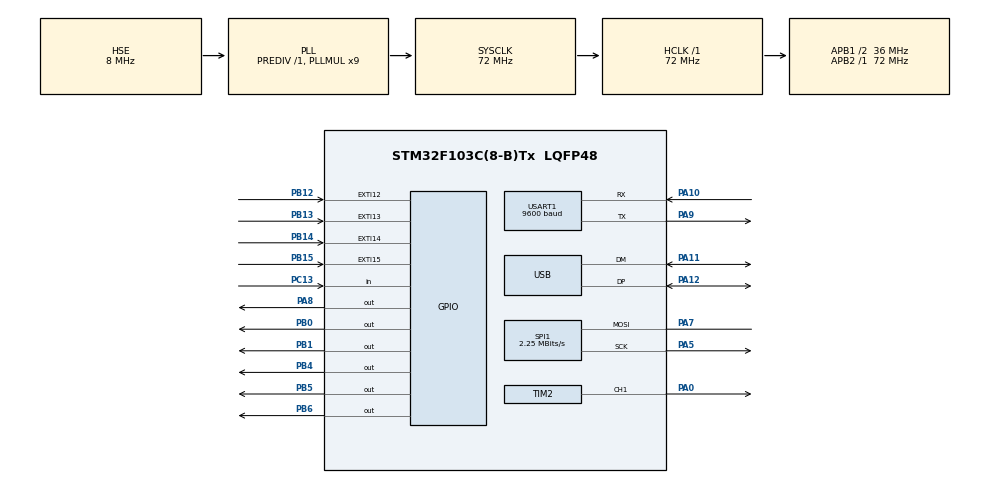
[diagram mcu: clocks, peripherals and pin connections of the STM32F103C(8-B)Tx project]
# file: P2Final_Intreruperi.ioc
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Mcu.Family=STM32F1
Mcu.Name=STM32F103C(8-B)Tx
Mcu.Package=LQFP48
NVIC.EXTI15_10_IRQn=true\:0\:0\:false\:false\:true\:true\:true\:true
NVIC.PriorityGroup=NVIC_PRIORITYGROUP_4
NVIC.TIM2_IRQn=true\:0\:0\:false\:false\:true\:true\:true\:true
NVIC.USART1_IRQn=true\:0\:0\:false\:false\:true\:true\:true\:true
PA0-WKUP.Signal=S_TIM2_CH1_ETR
PA10.Mode=Asynchronous
PA10.Signal=USART1_RX
PA11.Mode=Device
PA11.Signal=USB_DM
PA12.Mode=Device
PA12.Signal=USB_DP
PA5.Mode=Simplex_Bidirectional_Master
PA5.Signal=SPI1_SCK
PA7.Mode=Simplex_Bidirectional_Master
PA7.Signal=SPI1_MOSI
PA8.Signal=GPIO_Output
PA9.Mode=Asynchronous
PA9.Signal=USART1_TX
PB0.Signal=GPIO_Output
PB1.Signal=GPIO_Output
PB12.GPIO_PuPd=GPIO_PULLDOWN
PB12.Signal=GPXTI12
PB13.GPIO_PuPd=GPIO_PULLDOWN
PB13.Signal=GPXTI13
PB14.GPIO_PuPd=GPIO_PULLDOWN
PB14.Signal=GPXTI14
PB15.GPIO_PuPd=GPIO_PULLDOWN
PB15.Signal=GPXTI15
PB4.Signal=GPIO_Output
PB5.Signal=GPIO_Output
PB6.Signal=GPIO_Output
PC13-TAMPER-RTC.GPIO_PuPd=GPIO_PULLUP
PC13-TAMPER-RTC.Signal=GPIO_Input
PD0-OSC_IN.Mode=HSE-External-Oscillator
PD0-OSC_IN.Signal=RCC_OSC_IN
PD1-OSC_OUT.Mode=HSE-External-Oscillator
PD1-OSC_OUT.Signal=RCC_OSC_OUT
ProjectManager.HeapSize=0x200
ProjectManager.StackSize=0x400
ProjectManager.TargetToolchain=STM32CubeIDE
RCC.AHBFreq_Value=72000000
RCC.APB1CLKDivider=RCC_HCLK_DIV2
RCC.APB1Freq_Value=36000000
RCC.APB1TimFreq_Value=72000000
RCC.APB2Freq_Value=72000000
RCC.APB2TimFreq_Value=72000000
RCC.HCLKFreq_Value=72000000
RCC.PLLMUL=RCC_PLL_MUL9
RCC.SYSCLKFreq_VALUE=72000000
RCC.SYSCLKSource=RCC_SYSCLKSOURCE_PLLCLK
RCC.USBFreq_Value=48000000
RCC.USBPrescaler=RCC_USBCLKSOURCE_PLL_DIV1_5
SH.S_TIM2_CH1_ETR.0=TIM2_CH1,Output Compare1 CH1
SPI1.BaudRatePrescaler=SPI_BAUDRATEPRESCALER_32
SPI1.CalculateBaudRate=2.25 MBits/s
SPI1.Direction=SPI_DIRECTION_1LINE
SPI1.Mode=SPI_MODE_MASTER
SPI1.VirtualType=VM_MASTER
TIM2.Channel-Output\ Compare1\ CH1=TIM_CHANNEL_1
TIM2.Period=100
TIM2.Prescaler=7199
USART1.BaudRate=9600
USART1.VirtualMode=VM_ASYNC
VP_SYS_VS_ND.Mode=No_Debug
VP_TIM2_VS_ClockSourceINT.Mode=Internal
board=custom

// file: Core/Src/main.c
/* USER CODE BEGIN Header */
/**
  ******************************************************************************
  * @file           : main.c
  * @brief          : Main program body
  ******************************************************************************
  * @attention
  *
  * Copyright (c) 2024 STMicroelectronics.
  * All rights reserved.
  *
  * This software is licensed under terms that can be found in the LICENSE file
  * in the root directory of this software component.
  * If no LICENSE file comes with this software, it is provided AS-IS.
  *
  ******************************************************************************
  */
/* USER CODE END Header */
#include "main.h"

/* USER CODE BEGIN Includes */
#include <string.h>
#include <stdlib.h>
#include <stdio.h>
#include "SpaceInv.h"
#include "st7735.h"
#include "GFX_FUNCTIONS.h"
#include "fonts.h"
/* USER CODE END Includes */

/* USER CODE BEGIN PTD */

bool optiuneJoc=0;

//-----------------------------------------Jocul Snake------------------------------------------------------------------------------

typedef struct
{
  int16_t x;
  int16_t y;

}Sarpe;

Sarpe sarpe[255];
uint8_t temphr=0;//hrana spawn
//uint8_t uart_buf[1];

uint8_t latime=128;
uint8_t lungime=128;

uint8_t scor=2; //sarpele incepe cu 3 elemente adica 0 1 si 2
uint8_t randx=0;
uint8_t randy=0;
uint8_t ok1=0;
uint8_t game_over=0;

uint8_t apasat12=0;//sus
uint8_t apasat13=0;//jos
uint8_t apasat14=0;//dreapta
uint8_t apasat15=0;//stanga
uint8_t intrerupere=0;
uint16_t timp=0;

//------------------------------------------------------------------Jocul SpaceInvaders---------------------------------------------

uint8_t apasatDR=0;
uint8_t apasatSTG=0;

/* USER CODE END PTD */

SPI_HandleTypeDef hspi1;

TIM_HandleTypeDef htim2;

UART_HandleTypeDef huart1;

PCD_HandleTypeDef hpcd_USB_FS;

void SystemClock_Config(void);
static void MX_GPIO_Init(void);
static void MX_SPI1_Init(void);
static void MX_TIM2_Init(void);
static void MX_USART1_UART_Init(void);
static void MX_USB_PCD_Init(void);

/* USER CODE BEGIN 0 */

void HAL_TIM_PeriodElapsedCallback(TIM_HandleTypeDef *htim2)
{
	timp++;//timerul se apeleaza de 100 de ori pe secunda deci
		  //o secunda trece cand timp ajunge la 100 analog 50 pentru 500 ms
		 //Nu este cazul pentru Overflow deoarece variabila se incrementeaza doar de 100 de ori pe secunda
		//Pentru 30 de secunde brb am avea 3000 maximul pe 16 biti unsigned fiind 65.536-1
}

void alege_joc_interfata()
{
	//Ecranul e deja negru

	ST7735_WriteString(0, 8, " Selectati jocul!", Font_7x10, ST7735_WHITE, ST7735_BLACK);//18 spatii pe linie
	ST7735_WriteString( 49, 40, "Snake", Font_7x10, ST7735_WHITE, ST7735_BLACK);
	ST7735_WriteString( 21, 80, "Space Invaders", Font_7x10, ST7735_WHITE, ST7735_BLACK);

	while(HAL_GPIO_ReadPin(GPIOC, GPIO_PIN_13)!=0)
	{
		if(HAL_GPIO_ReadPin(GPIOB, GPIO_PIN_12)==1 && HAL_GPIO_ReadPin(GPIOB, GPIO_PIN_13)==0)//SUS-Selectat snake
		{
			ST7735_WriteString( 49, 40, "Snake", Font_7x10, ST7735_RED, ST7735_BLACK);
			ST7735_WriteString( 21, 80, "Space Invaders", Font_7x10, ST7735_WHITE, ST7735_BLACK);
			optiuneJoc=0;//snake
		}

		if(HAL_GPIO_ReadPin(GPIOB, GPIO_PIN_13)==1 && HAL_GPIO_ReadPin(GPIOB, GPIO_PIN_12)==0)//SUS-Selectat snake
		{
			ST7735_WriteString( 49, 40, "Snake", Font_7x10, ST7735_WHITE, ST7735_BLACK);
			ST7735_WriteString( 21, 80, "Space Invaders", Font_7x10, ST7735_BLUE, ST7735_BLACK);
			optiuneJoc=1;//SpaceInv
		}
	}

}

void pixel_sarpe(int16_t x,int16_t y)//deseneaza pixelul corpului sarpelui
{
   uint8_t i=0,j=0;

   for(i=x;i<(x+8);i++)
   {
      for(j=y;j<(y+8);j++)
      {
    	  ST7735_DrawPixel(i, j, ST7735_GREEN);
      }
   }
}

void pixel_hrana(int16_t x,int16_t y)//deseneaza pixelul corpului sarpelui
{
   uint8_t i=0,j=0;

   for(i=x;i<(x+8);i++)
   {
      for(j=y;j<(y+8);j++)
      {
    	  ST7735_DrawPixel(i, j, ST7735_RED);
      }
   }
}

void update_sarpe()//il stergem pt un scurt moment pe tot pentru a redesena cu coorodnatele actualizate
{
  uint8_t i,j,z;

  for(i=0;i<=scor;i++)//lungimea curenta a sarpelui
  {
    for(j=sarpe[i].x;j<(sarpe[i].x+8);j++)
   {
      for(z=sarpe[i].y;z<(sarpe[i].y+8);z++)
      {
    	  ST7735_DrawPixel(j, z, ST7735_BLACK);
      }
   }

  }

}

void deseneaza_sarpe()
{

  for(uint8_t i=0;i<=scor;i++)
  {

	if(i==0) //Daca desenam capul, ii punem ochi :)
	{
		uint8_t k=0;
		uint8_t l=0;

		for(k=sarpe[0].x;k<(sarpe[0].x+8);k++)
		{
			for(l=sarpe[0].y;l<(sarpe[0].y+8);l++)
			{
				if( (k==1+sarpe[0].x && l==1+sarpe[0].y) || (k==1+sarpe[0].x && l==2+sarpe[0].y) ||
					(k==2+sarpe[0].x && l==1+sarpe[0].y) || (k==2+sarpe[0].x && l==2+sarpe[0].y) ||
					(k==5+sarpe[0].x && l==1+sarpe[0].y) || (k==6+sarpe[0].x && l==1+sarpe[0].y) ||
					(k==5+sarpe[0].x && l==2+sarpe[0].y) || (k==6+sarpe[0].x && l==2+sarpe[0].y))
				{
					ST7735_DrawPixel(k, l, ST7735_RED);
				}

				else
				{
					ST7735_DrawPixel(k, l, ST7735_GREEN);
				}
			}
		}
	}

	else
	{
		pixel_sarpe(sarpe[i].x,sarpe[i].y);//desenam sarpele in functie de coordonatele fiecarui corp(doar corpul fara cap)
	}

  }

}

void conversie_char(char *ScorString)
{

	uint8_t temp=scor-2;//facem scorul sa incepa de la 0

	if(temp==0)
	{
		ScorString[0]='0';
		ScorString[1]='\0';//functia afiseaza pana la endstirng \0
		return;

	}

	ScorString[0]=(temp/100 + '0');
	ScorString[1]=((temp/10)%10 + '0');//456
	ScorString[2]=(temp%10 + '0');
	ScorString[3]='\0';

}

void interfata_initiala(uint16_t *speed)
{
	ST7735_FillScreenFast(ST7735_RED);

	ST7735_WriteString(0, 8, "   Jocul Snake!     Selectati viteza ", Font_7x10, ST7735_BLACK, ST7735_RED);

	ST7735_WriteString( 7, lungime/2, "Mica", Font_7x10, ST7735_BLACK, ST7735_RED);
	ST7735_WriteString( latime-35 , lungime/2, "Mare", Font_7x10, ST7735_BLACK, ST7735_RED);

	while(HAL_GPIO_ReadPin(GPIOC, GPIO_PIN_13)!=0)//cat timp nu am apasat pe user si am selectat viteza, putem alege
	{

		if(HAL_GPIO_ReadPin(GPIOB, GPIO_PIN_15)==1)//am apasat stanga->selectam mica
		{
			ST7735_WriteString(7 , lungime/2, "Mica", Font_7x10, ST7735_WHITE, ST7735_RED);
			ST7735_WriteString(latime-35 , lungime/2, "Mare", Font_7x10, ST7735_BLACK, ST7735_RED);

			*speed=500;
		}

		if(HAL_GPIO_ReadPin(GPIOB, GPIO_PIN_14)==1)//am apasat dreapta->selectam mare
		{
			ST7735_WriteString(7, lungime/2, "Mica", Font_7x10, ST7735_BLACK, ST7735_RED);
			ST7735_WriteString(latime-35, lungime/2, "Mare", Font_7x10, ST7735_WHITE, ST7735_RED);

			*speed=250;

		}

	}

	ST7735_FillScreenFast(ST7735_BLACK);

}

void interfata_game_over()
{

	uint8_t Xi=0;
	uint8_t Yj=0;

	while(Xi<128 && Yj<128) //facem efectul vizual pentru interfata de culoarea rosie-Background gameover
	{

	for(uint8_t i=Xi;i<Xi+8;i++)
	{
		for(uint8_t j=Yj;j<Yj+8;j++)
		{
			ST7735_DrawPixel(i, j, ST7735_RED);//(x,y)
		}

	}

	Xi=Xi+8;

	if(Xi>120)
	{
		Yj=Yj+8;
		Xi=0;
	}

	}

	ST7735_WriteString(0, 30, " Game over!     :( ", Font_11x18, ST7735_BLACK, ST7735_RED);
	//convertim la char scorul

	char ScorString[4];
	conversie_char(ScorString);

	ST7735_WriteString(56, 90, ScorString, Font_11x18, ST7735_BLACK, ST7735_RED);

}

void verifica_coliziune()
{
  //verifica coliziunea cu el insusi

  for(uint8_t i=1;i<=scor;i++)
  {
    if(sarpe[0].x==sarpe[i].x && sarpe[0].y==sarpe[i].y)
    {

      game_over=1;
      interfata_game_over();
    }
  }

  /*
  //verificam coliziunea cu peretii ecranului: se verifica doar capul

  if(sarpe[0].x>=128 || sarpe[0].y>=128 || sarpe[0].x<0 || sarpe[0].y<0)//HAHA... bufferOverflow
  {

     game_over=1;
     interfata_game_over();
  }
  */

}

//--------------------------------------deplasari in functie de inputul dat de user-------------------------------------------------------------------------

void deplasare_dreapta()
{

    for(uint8_t i=scor;i>0;i--)
    {
    sarpe[i].x=sarpe[i-1].x;
    sarpe[i].y=sarpe[i-1].y;
    }

    if((sarpe[0].x)+8==128)
    {
    	sarpe[0].x=0;//deplasare prin perete
    }

    else
    {
    	sarpe[0].x=sarpe[0].x+8;//deplasam capul spre dreapta
    }

}

void deplasare_stanga()
{

    for(uint8_t i=scor;i>0;i--)
    {
    sarpe[i].x=sarpe[i-1].x;
    sarpe[i].y=sarpe[i-1].y;
    }

    if((sarpe[0].x)-8<0)
    {
        sarpe[0].x=120;
    }

    else
    {
    	sarpe[0].x=sarpe[0].x-8;//deplasam capul spre stanga
    }

}

void deplasare_jos()
{

    for(uint8_t i=scor;i>0;i--)
    {
    sarpe[i].x=sarpe[i-1].x;
    sarpe[i].y=sarpe[i-1].y;
    }

    if((sarpe[0].y)+8==128)
    {
        sarpe[0].y=0;
    }

    else
    {
    	sarpe[0].y=sarpe[0].y+8;//deplasam capul spre sus
    }

}

void deplasare_sus()
{

    for(uint8_t i=scor;i>0;i--)
    {
    sarpe[i].x=sarpe[i-1].x;
    sarpe[i].y=sarpe[i-1].y;
    }

    if((sarpe[0].y)-8<0)
    {
        sarpe[0].y=120;
    }

    else
    {
    	sarpe[0].y=sarpe[0].y-8;//deplasam capul spre jos
    }

}

void HAL_GPIO_EXTI_Callback(uint16_t GPIO_Pin) //functie pentru intreruperi de sistem
{

	if(timp>=15)//Un mic Delay pentru schimbarea directiei pentru a nu parea prea instant si distopic fata de viteza de joc
	{

	intrerupere=1;//o variabila pentru a verifica daca a avut loc intreruperea

	if(GPIO_Pin == GPIO_PIN_12 && apasat13==0)//Deplasare Sus
		{
			apasat12=1;
			apasat13=0;
			apasat14=0;
			apasat15=0;

		}

	if(GPIO_Pin == GPIO_PIN_13 && apasat12==0)//Deplasare jos
		{
			apasat12=0;
			apasat13=1;
			apasat14=0;
			apasat15=0;

		}

	if(GPIO_Pin == GPIO_PIN_14 && apasat15==0)//Deplasare dreapta
		{
			apasat12=0;
			apasat13=0;
			apasat14=1;
			apasat15=0;

			apasatDR=1;
			apasatSTG=0;

		}

	if(GPIO_Pin == GPIO_PIN_15 && apasat14==0)//Deplasare Stanga
		{
			apasat12=0;
			apasat13=0;
			apasat14=0;
			apasat15=1;

			apasatDR=0;
			apasatSTG=1;

		}

		timp=0;//resetam timpul

	}

}

//----------------------------------------------------------------------------------------------------------------------------------------------------------

void spawn_mancare()
{
  uint8_t ok=0;

  //verificam sa nu spawunam in coordonatele curente ale sarpelui

  while(1)
  {

	ok=0;

	randx=(rand()%16)*8;
	randy=(rand()%16)*8;

   for(uint8_t i=0;i<=scor;i++)
   {

     if(sarpe[i].x==randx && sarpe[i].y==randy)
     {
       ok=1;
       break;
     }

   }

   if(ok==0)
   {

    break;

   }

  }

  //de testare! spawn initail
  if(temphr==0)
  {
    //test_sarpe
    randx=sarpe[0].x+32;
    randy=sarpe[0].y;
    //momentan hrana si sarpele arata la fel
    pixel_hrana(randx,randy);
    temphr=1;
  }

  //afisare seriala a coordonatelor

  uint8_t caracter;
  caracter=(randx/100)+'0';//456

  HAL_UART_Transmit(&huart1, &(caracter),1,HAL_MAX_DELAY);
  caracter=(randx%100)/10+'0';

  HAL_UART_Transmit(&huart1, &(caracter),1,HAL_MAX_DELAY);
  caracter=randx%10+'0';

  HAL_UART_Transmit(&huart1, &(caracter),1,HAL_MAX_DELAY);

  HAL_UART_Transmit(&huart1,(uint8_t*) " ",1,HAL_MAX_DELAY);
  HAL_UART_Transmit(&huart1,(uint8_t*) " ",1,HAL_MAX_DELAY);

}

void fizica_sarpe()
{
    verifica_coliziune();

    if(intrerupere==1)
    {
    	intrerupere=0;//Daca a avut loc intreruperea o facem 0-
    	//Aceasta conditie este suplimentara, ajuta la debugging pentru a verifica daca a avut loc intreruperea
    }

    if(ok1==0)//Conditii initiale ale jocului-Spawn mancare+Reset initial date de intrerupere input
    {
      spawn_mancare();//spawn initial in care si coloreaza initial hrana
      apasat12=0;
      apasat13=0;
      apasat14=1;//Deplasare initiala dreapta
      apasat15=0;

      ok1=1;//Stop initializare

    }

    update_sarpe();//stergem pixeli curenti a sarpelui->ii facem negri ca backgroundul

    //pentru deplasareile automate dupa comenzile data ca input la fiecare ceas
    //automat se va considera doar o directie valida, conditie prelucrata anterior

    if(apasat15==1)
    {
      deplasare_stanga();
    }

    if(apasat12==1)
    {
      deplasare_sus();
    }

    if(apasat14==1)
    {
      deplasare_dreapta();
    }

    if(apasat13==1)
    {
      deplasare_jos();
    }

    deseneaza_sarpe();

    if(sarpe[0].x==randx && sarpe[0].y==randy)//capul a mancat bine->momentul in care sarpele a mancat hrana, urmeaza sa o adaugam
    {
      //Deoarece hrana actuala va fi suprapusa cu capul sarpelui nu va trebui sa o stergem/rectualizam
      scor++;

      //! Atentie, aici urmeaza in functie de directia de deplasareschimbarea codului->adaugarea noului corp
      //Pe scurt vom adauga mancarea in functie de ultimele coordonate (2) ale cozii ca sa aflam directia de deplasare in spatiu
      //sarpe[scor].x=sarpe[scor-1].x-8;
      //sarpe[scor].y=sarpe[scor-1].y;

      //deplasare catre dreapta-nou corp la coada unde vom face diferenta dintre ultimele 2 coordonate
      if(sarpe[scor-1].x+8==sarpe[scor-2].x && sarpe[scor-1].y==sarpe[scor-2].y)
      {
         sarpe[scor].x=sarpe[scor-1].x-8;
         sarpe[scor].y=sarpe[scor-1].y;
      }

      //deplasare catre stanga
      if(sarpe[scor-1].x-8==sarpe[scor-2].x && sarpe[scor-1].y==sarpe[scor-2].y)
      {
         sarpe[scor].x=sarpe[scor-1].x+8;
         sarpe[scor].y=sarpe[scor-1].y;
      }

      //deplasare catre sus
      if(sarpe[scor-1].x==sarpe[scor-2].x && sarpe[scor-1].y-8==sarpe[scor-2].y)
      {
         sarpe[scor].x=sarpe[scor-1].x;
         sarpe[scor].y=sarpe[scor-1].y+8;
      }

      //deplasare catre jos
      if(sarpe[scor-1].x==sarpe[scor-2].x && sarpe[scor-1].y+8==sarpe[scor-2].y)
      {
         sarpe[scor].x=sarpe[scor-1].x;
         sarpe[scor].y=sarpe[scor-1].y-8;
      }

      update_sarpe();
      deseneaza_sarpe();//Desenam sarpele pe ecran cu scor+

      spawn_mancare();//mutam aleator la alte coordonate hrana
      pixel_hrana(randx,randy);//desenam hrana

      }

}

/* USER CODE END 0 */

int main(void)
{

  /* USER CODE BEGIN 1 */
  uint16_t speed=500;
  /* USER CODE END 1 */

  /* MCU Configuration--------------------------------------------------------*/

  /* Reset of all peripherals, Initializes the Flash interface and the Systick. */
  HAL_Init();

  /* Configure the system clock */
  SystemClock_Config();

  /* Initialize all configured peripherals */
  MX_GPIO_Init();
  MX_SPI1_Init();
  MX_TIM2_Init();
  MX_USART1_UART_Init();
  MX_USB_PCD_Init();
  /* USER CODE BEGIN 2 */
  HAL_TIM_Base_Start_IT(&htim2);//pornim counterul-ceasul

  ST7735_Init();

  ST7735_FillScreenFast(ST7735_BLACK);

  alege_joc_interfata();//userul alege jocul

  if(optiuneJoc==0)//Am selectat jocul snake
  {

  ST7735_FillScreenFast(ST7735_BLACK);

  interfata_initiala(&speed);

  pixel_sarpe(latime/2,lungime/2);

  sarpe[0].x=latime/2;
  sarpe[0].y=lungime/2;

  sarpe[1].x=sarpe[0].x-8;
  sarpe[1].y=sarpe[0].y;

  sarpe[2].x=sarpe[1].x-8;
  sarpe[2].y=sarpe[1].y;

  }

  if(optiuneJoc==1)//Am selectat spaceInvaders
  {
	 ST7735_FillScreenFast(ST7735_BLACK);

  }

  /* USER CODE END 2 */

  /* Infinite loop */
  /* USER CODE BEGIN WHILE */
  while (1)
   {
	  if(optiuneJoc==0)
	  {

	   if(game_over==0)

	   {

	   srand(HAL_GetTick());//Seed diferit pentru fiecare spawn->cat mai aleator
	   fizica_sarpe();
	   verifica_coliziune();

	   }

	   HAL_Delay(speed);

	  }

	  if(optiuneJoc==1)
	  {
		  motor_joc();
		  HAL_Delay(500);
	  }

  }

}

void SystemClock_Config(void)
{
  RCC_OscInitTypeDef RCC_OscInitStruct = {0};
  RCC_ClkInitTypeDef RCC_ClkInitStruct = {0};
  RCC_PeriphCLKInitTypeDef PeriphClkInit = {0};

  /** Initializes the RCC Oscillators according to the specified parameters
  * in the RCC_OscInitTypeDef structure.
  */
  RCC_OscInitStruct.OscillatorType = RCC_OSCILLATORTYPE_HSE;
  RCC_OscInitStruct.HSEState = RCC_HSE_ON;
  RCC_OscInitStruct.HSEPredivValue = RCC_HSE_PREDIV_DIV1;
  RCC_OscInitStruct.HSIState = RCC_HSI_ON;
  RCC_OscInitStruct.PLL.PLLState = RCC_PLL_ON;
  RCC_OscInitStruct.PLL.PLLSource = RCC_PLLSOURCE_HSE;
  RCC_OscInitStruct.PLL.PLLMUL = RCC_PLL_MUL9;
  if (HAL_RCC_OscConfig(&RCC_OscInitStruct) != HAL_OK)
  {
    Error_Handler();
  }

  /** Initializes the CPU, AHB and APB buses clocks
  */
  RCC_ClkInitStruct.ClockType = RCC_CLOCKTYPE_HCLK|RCC_CLOCKTYPE_SYSCLK
                              |RCC_CLOCKTYPE_PCLK1|RCC_CLOCKTYPE_PCLK2;
  RCC_ClkInitStruct.SYSCLKSource = RCC_SYSCLKSOURCE_PLLCLK;
  RCC_ClkInitStruct.AHBCLKDivider = RCC_SYSCLK_DIV1;
  RCC_ClkInitStruct.APB1CLKDivider = RCC_HCLK_DIV2;
  RCC_ClkInitStruct.APB2CLKDivider = RCC_HCLK_DIV1;

  if (HAL_RCC_ClockConfig(&RCC_ClkInitStruct, FLASH_LATENCY_2) != HAL_OK)
  {
    Error_Handler();
  }
  PeriphClkInit.PeriphClockSelection = RCC_PERIPHCLK_USB;
  PeriphClkInit.UsbClockSelection = RCC_USBCLKSOURCE_PLL_DIV1_5;
  if (HAL_RCCEx_PeriphCLKConfig(&PeriphClkInit) != HAL_OK)
  {
    Error_Handler();
  }
}

static void MX_SPI1_Init(void)
{

  /* SPI1 parameter configuration*/
  hspi1.Instance = SPI1;
  hspi1.Init.Mode = SPI_MODE_MASTER;
  hspi1.Init.Direction = SPI_DIRECTION_1LINE;
  hspi1.Init.DataSize = SPI_DATASIZE_8BIT;
  hspi1.Init.CLKPolarity = SPI_POLARITY_LOW;
  hspi1.Init.CLKPhase = SPI_PHASE_1EDGE;
  hspi1.Init.NSS = SPI_NSS_SOFT;
  hspi1.Init.BaudRatePrescaler = SPI_BAUDRATEPRESCALER_32;
  hspi1.Init.FirstBit = SPI_FIRSTBIT_MSB;
  hspi1.Init.TIMode = SPI_TIMODE_DISABLE;
  hspi1.Init.CRCCalculation = SPI_CRCCALCULATION_DISABLE;
  hspi1.Init.CRCPolynomial = 10;
  if (HAL_SPI_Init(&hspi1) != HAL_OK)
  {
    Error_Handler();
  }

}

static void MX_TIM2_Init(void)
{

  TIM_ClockConfigTypeDef sClockSourceConfig = {0};
  TIM_MasterConfigTypeDef sMasterConfig = {0};
  TIM_OC_InitTypeDef sConfigOC = {0};

  htim2.Instance = TIM2;
  htim2.Init.Prescaler = 7199;
  htim2.Init.CounterMode = TIM_COUNTERMODE_UP;
  htim2.Init.Period = 100;
  htim2.Init.ClockDivision = TIM_CLOCKDIVISION_DIV1;
  htim2.Init.AutoReloadPreload = TIM_AUTORELOAD_PRELOAD_DISABLE;
  if (HAL_TIM_Base_Init(&htim2) != HAL_OK)
  {
    Error_Handler();
  }
  sClockSourceConfig.ClockSource = TIM_CLOCKSOURCE_INTERNAL;
  if (HAL_TIM_ConfigClockSource(&htim2, &sClockSourceConfig) != HAL_OK)
  {
    Error_Handler();
  }
  if (HAL_TIM_OC_Init(&htim2) != HAL_OK)
  {
    Error_Handler();
  }
  sMasterConfig.MasterOutputTrigger = TIM_TRGO_RESET;
  sMasterConfig.MasterSlaveMode = TIM_MASTERSLAVEMODE_DISABLE;
  if (HAL_TIMEx_MasterConfigSynchronization(&htim2, &sMasterConfig) != HAL_OK)
  {
    Error_Handler();
  }
  sConfigOC.OCMode = TIM_OCMODE_TIMING;
  sConfigOC.Pulse = 0;
  sConfigOC.OCPolarity = TIM_OCPOLARITY_HIGH;
  sConfigOC.OCFastMode = TIM_OCFAST_DISABLE;
  if (HAL_TIM_OC_ConfigChannel(&htim2, &sConfigOC, TIM_CHANNEL_1) != HAL_OK)
  {
    Error_Handler();
  }
  HAL_TIM_MspPostInit(&htim2);

}

static void MX_USART1_UART_Init(void)
{

  huart1.Instance = USART1;
  huart1.Init.BaudRate = 9600;
  huart1.Init.WordLength = UART_WORDLENGTH_8B;
  huart1.Init.StopBits = UART_STOPBITS_1;
  huart1.Init.Parity = UART_PARITY_NONE;
  huart1.Init.Mode = UART_MODE_TX_RX;
  huart1.Init.HwFlowCtl = UART_HWCONTROL_NONE;
  huart1.Init.OverSampling = UART_OVERSAMPLING_16;
  if (HAL_UART_Init(&huart1) != HAL_OK)
  {
    Error_Handler();
  }

}

static void MX_USB_PCD_Init(void)
{

  hpcd_USB_FS.Instance = USB;
  hpcd_USB_FS.Init.dev_endpoints = 8;
  hpcd_USB_FS.Init.speed = PCD_SPEED_FULL;
  hpcd_USB_FS.Init.low_power_enable = DISABLE;
  hpcd_USB_FS.Init.lpm_enable = DISABLE;
  hpcd_USB_FS.Init.battery_charging_enable = DISABLE;
  if (HAL_PCD_Init(&hpcd_USB_FS) != HAL_OK)
  {
    Error_Handler();
  }

}

static void MX_GPIO_Init(void)
{
  GPIO_InitTypeDef GPIO_InitStruct = {0};

  /* GPIO Ports Clock Enable */
  __HAL_RCC_GPIOC_CLK_ENABLE();
  __HAL_RCC_GPIOD_CLK_ENABLE();
  __HAL_RCC_GPIOA_CLK_ENABLE();
  __HAL_RCC_GPIOB_CLK_ENABLE();

  /*Configure GPIO pin Output Level */
  HAL_GPIO_WritePin(GPIOB, GPIO_PIN_0|GPIO_PIN_1|GPIO_PIN_4|GPIO_PIN_5
                          |GPIO_PIN_6, GPIO_PIN_RESET);

  /*Configure GPIO pin Output Level */
  HAL_GPIO_WritePin(GPIOA, GPIO_PIN_8, GPIO_PIN_RESET);

  /*Configure GPIO pin : PC13 */
  GPIO_InitStruct.Pin = GPIO_PIN_13;
  GPIO_InitStruct.Mode = GPIO_MODE_INPUT;
  GPIO_InitStruct.Pull = GPIO_PULLUP;
  HAL_GPIO_Init(GPIOC, &GPIO_InitStruct);

  /*Configure GPIO pins : PB0 PB1 PB4 PB5
                           PB6 */
  GPIO_InitStruct.Pin = GPIO_PIN_0|GPIO_PIN_1|GPIO_PIN_4|GPIO_PIN_5
                          |GPIO_PIN_6;
  GPIO_InitStruct.Mode = GPIO_MODE_OUTPUT_PP;
  GPIO_InitStruct.Pull = GPIO_NOPULL;
  GPIO_InitStruct.Speed = GPIO_SPEED_FREQ_LOW;
  HAL_GPIO_Init(GPIOB, &GPIO_InitStruct);

  /*Configure GPIO pins : PB12 PB13 PB14 PB15 */
  GPIO_InitStruct.Pin = GPIO_PIN_12|GPIO_PIN_13|GPIO_PIN_14|GPIO_PIN_15;
  GPIO_InitStruct.Mode = GPIO_MODE_IT_RISING;
  GPIO_InitStruct.Pull = GPIO_PULLDOWN;
  HAL_GPIO_Init(GPIOB, &GPIO_InitStruct);

  /*Configure GPIO pin : PA8 */
  GPIO_InitStruct.Pin = GPIO_PIN_8;
  GPIO_InitStruct.Mode = GPIO_MODE_OUTPUT_PP;
  GPIO_InitStruct.Pull = GPIO_NOPULL;
  GPIO_InitStruct.Speed = GPIO_SPEED_FREQ_LOW;
  HAL_GPIO_Init(GPIOA, &GPIO_InitStruct);

  /* EXTI interrupt init*/
  HAL_NVIC_SetPriority(EXTI15_10_IRQn, 0, 0);
  HAL_NVIC_EnableIRQ(EXTI15_10_IRQn);

}

void Error_Handler(void)
{
  __disable_irq();
  while (1)
  {
  }
}
